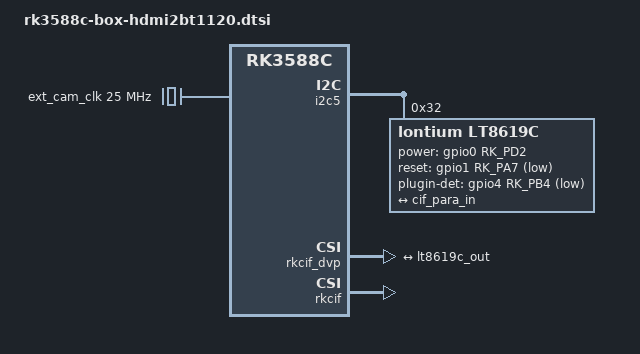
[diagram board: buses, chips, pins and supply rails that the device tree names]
// SPDX-License-Identifier: (GPL-2.0+ OR MIT)
/*
 * Copyright (c) 2021 Rockchip Electronics Co., Ltd.
 *
 */

/ {
	ext_cam_clk: external-camera-clock {
		compatible = "fixed-clock";
		clock-frequency = <25000000>;
		clock-output-names = "CLK_CAMERA_25MHZ";
		#clock-cells = <0>;
	};
};

&i2c5 {
	status = "okay";
	pinctrl-names = "default";
	pinctrl-0 = <&i2c5m3_xfer>;

	lt8619c: lt8619c@32 {
		compatible = "lontium,lt8619c";
		reg = <0x32>;
		clocks = <&ext_cam_clk>;
		clock-names = "xvclk";
		pinctrl-names = "default";
		pinctrl-0 = <&cif_dvp_clk &cif_dvp_bus16 &cif_dvp_bus8>;
		power-gpios = <&gpio0 RK_PD2 GPIO_ACTIVE_HIGH>;
		reset-gpios = <&gpio1 RK_PA7 GPIO_ACTIVE_LOW>;
		plugin-det-gpios = <&gpio4 RK_PB4 GPIO_ACTIVE_LOW>;
		hpd-output-inverted;
		rockchip,camera-module-index = <0>;
		rockchip,camera-module-facing = "back";
		rockchip,camera-module-name = "LT8619C";
		rockchip,camera-module-lens-name = "NC";

		port {
			lt8619c_out: endpoint {
				remote-endpoint = <&cif_para_in>;
				bus-width = <16>;
				pclk-sample = <1>;
			};
		};
	};
};

&rkcif_dvp {
	status = "okay";

	port {
		/* Parallel bus endpoint */
		cif_para_in: endpoint {
			remote-endpoint = <&lt8619c_out>;
		};
	};
};

&rkcif {
	status = "okay";
};

&rkcif_mmu {
	status = "okay";
};

